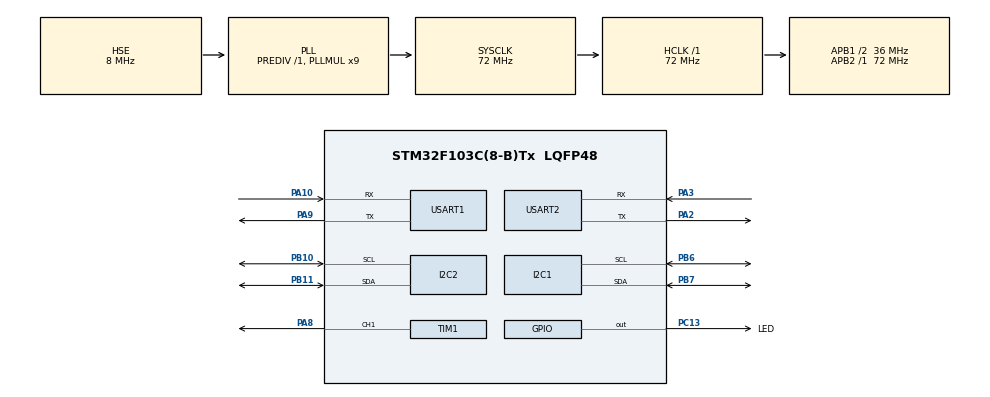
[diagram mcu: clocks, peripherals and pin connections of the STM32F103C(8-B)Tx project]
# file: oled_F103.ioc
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Dma.Request0=TIM1_CH1
Dma.TIM1_CH1.0.Direction=DMA_MEMORY_TO_PERIPH
Dma.TIM1_CH1.0.Instance=DMA1_Channel2
Dma.TIM1_CH1.0.MemDataAlignment=DMA_MDATAALIGN_WORD
Dma.TIM1_CH1.0.MemInc=DMA_MINC_ENABLE
Dma.TIM1_CH1.0.Mode=DMA_NORMAL
Dma.TIM1_CH1.0.PeriphDataAlignment=DMA_PDATAALIGN_WORD
Dma.TIM1_CH1.0.PeriphInc=DMA_PINC_DISABLE
Dma.TIM1_CH1.0.Priority=DMA_PRIORITY_MEDIUM
I2C1.I2C_Mode=I2C_Standard
I2C2.I2C_Mode=I2C_Fast
Mcu.Family=STM32F1
Mcu.Name=STM32F103C(8-B)Tx
Mcu.Package=LQFP48
NVIC.DMA1_Channel2_IRQn=true\:0\:0\:false\:false\:true\:false\:true\:true
NVIC.PriorityGroup=NVIC_PRIORITYGROUP_4
NVIC.USART1_IRQn=true\:0\:0\:false\:false\:true\:true\:true\:true
NVIC.USART2_IRQn=true\:0\:0\:false\:false\:true\:true\:true\:true
PA10.Mode=Asynchronous
PA10.Signal=USART1_RX
PA13.Mode=Serial_Wire
PA13.Signal=SYS_JTMS-SWDIO
PA14.Mode=Serial_Wire
PA14.Signal=SYS_JTCK-SWCLK
PA2.Mode=Asynchronous
PA2.Signal=USART2_TX
PA3.Mode=Asynchronous
PA3.Signal=USART2_RX
PA8.Signal=S_TIM1_CH1
PA9.Mode=Asynchronous
PA9.Signal=USART1_TX
PB10.Mode=I2C
PB10.Signal=I2C2_SCL
PB11.Mode=I2C
PB11.Signal=I2C2_SDA
PB6.GPIO_Speed=GPIO_SPEED_FREQ_HIGH
PB6.Mode=I2C
PB6.Signal=I2C1_SCL
PB7.Mode=I2C
PB7.Signal=I2C1_SDA
PC13-TAMPER-RTC.GPIO_Label=LED
PC13-TAMPER-RTC.GPIO_Speed=GPIO_SPEED_FREQ_MEDIUM
PC13-TAMPER-RTC.PinState=GPIO_PIN_SET
PC13-TAMPER-RTC.Signal=GPIO_Output
PD0-OSC_IN.Mode=HSE-External-Oscillator
PD0-OSC_IN.Signal=RCC_OSC_IN
PD1-OSC_OUT.Mode=HSE-External-Oscillator
PD1-OSC_OUT.Signal=RCC_OSC_OUT
ProjectManager.HeapSize=0x400
ProjectManager.StackSize=0x800
ProjectManager.TargetToolchain=MDK-ARM V5.32
RCC.AHBFreq_Value=72000000
RCC.APB1CLKDivider=RCC_HCLK_DIV2
RCC.APB1Freq_Value=36000000
RCC.APB1TimFreq_Value=72000000
RCC.APB2Freq_Value=72000000
RCC.APB2TimFreq_Value=72000000
RCC.HCLKFreq_Value=72000000
RCC.PLLMUL=RCC_PLL_MUL9
RCC.PLLSourceVirtual=RCC_PLLSOURCE_HSE
RCC.SYSCLKFreq_VALUE=72000000
RCC.SYSCLKSource=RCC_SYSCLKSOURCE_PLLCLK
RCC.USBFreq_Value=48000000
RCC.USBPrescaler=RCC_USBCLKSOURCE_PLL_DIV1_5
SH.S_TIM1_CH1.0=TIM1_CH1,PWM Generation1 CH1
TIM1.Channel-PWM\ Generation1\ CH1=TIM_CHANNEL_1
TIM1.Period=90
TIM2.Period=100
TIM2.Prescaler=7200-1
USART1.VirtualMode=VM_ASYNC
USART2.VirtualMode=VM_ASYNC
VP_TIM1_VS_ClockSourceINT.Mode=Internal
VP_TIM2_VS_ClockSourceINT.Mode=Internal
board=custom

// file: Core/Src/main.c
/* USER CODE BEGIN Header */
/**
 ******************************************************************************
 * @file           : main.c
 * @brief          : Main program body
 ******************************************************************************
 * @attention
 *
 * Copyright (c) 2024 STMicroelectronics.
 * All rights reserved.
 *
 * This software is licensed under terms that can be found in the LICENSE file
 * in the root directory of this software component.
 * If no LICENSE file comes with this software, it is provided AS-IS.
 *
 ******************************************************************************
 */
/* USER CODE END Header */
#include "main.h"
#include "dma.h"
#include "i2c.h"
#include "tim.h"
#include "usart.h"
#include "gpio.h"

/* USER CODE BEGIN Includes */
#include "OLED.h"
#include "WS2812B.h"
#include "esp8266.h"
#include "ee.h"
/* USER CODE END Includes */

/* USER CODE BEGIN PM */
char oled_buff[20] = {0};
uint8_t Rxbuff = 0;

extern uint8_t index_send_msg;
extern uint16_t index_led;
uint8_t led_status = 0;
uint8_t led_vol = 0;

volatile uint16_t mqtt_receive_count = 0;
volatile uint8_t mqtt_receive_complete = 0;

/* USER CODE END PM */

/* USER CODE BEGIN PV */
// 1. 定义三组不同的测试数据和对应的句柄 (与之前相同)
// 第一组: 用户ID
uint32_t user_id = 19981231;
EE_HandleTypeDef handle_user_id;

// 第二组: GPS坐标
typedef struct {
    double latitude;
    double longitude;
} GpsCoord;
GpsCoord last_location = { .latitude = 39.9042, .longitude = 116.4074 };
EE_HandleTypeDef handle_gps;

// 第三组: 设备状态
uint8_t device_status_flags = 0xAC;  // 8个标志位
EE_HandleTypeDef handle_status;

// 2. 规划每组数据在EEPROM中的存储布局（偏移地址）
#define OFFSET_USER_ID          0
#define OFFSET_GPS_COORD        32  // 预留一些空间
#define OFFSET_STATUS_FLAGS     64
/* USER CODE END PV */

void SystemClock_Config(void);
/* USER CODE BEGIN PFP */
void OLED_demo(void);
void ESP8266_demo(void);
void espTopic_pub_sub_demo(void);
/* USER CODE END PFP */

/* USER CODE BEGIN 0 */
  void flash_test(void)
  {
     printf("========= EEPROM Emulation Test Case V2 =========\n");

    // 根据编译时选择的配置，打印当前测试的内存布局

    printf("--- Running in [STANDALONE / NO BOOTLOADER] mode ---\n");
    printf("--- Simulated EEPROM Address: 0x%X (At the end of Flash) ---\n\n", (unsigned int)EE_ADDRESS);

    // ================== 写入阶段 ==================
    printf("========= Phase 1: Writing data =========\n");

    EE_Init(&handle_user_id, &user_id, sizeof(user_id), OFFSET_USER_ID);
    EE_Init(&handle_gps, &last_location, sizeof(last_location), OFFSET_GPS_COORD);
    EE_Init(&handle_status, &device_status_flags, sizeof(device_status_flags), OFFSET_STATUS_FLAGS);

    if (!EE_Format()) {
        printf("Error: Failed to format EEPROM area.\n");
    }

    printf("Writing User ID: %u at offset %d\n", user_id, OFFSET_USER_ID);
    EE_Write(&handle_user_id);

    printf("Writing GPS Location: lat=%.4f, lon=%.4f at offset %d\n", last_location.latitude, last_location.longitude, OFFSET_GPS_COORD);
    EE_Write(&handle_gps);

    printf("Writing Status Flags: 0x%02X at offset %d\n", device_status_flags, OFFSET_STATUS_FLAGS);
    EE_Write(&handle_status);

    printf("\n========= Write phase finished. =========\n\n");

    // ================== 读取与验证阶段 ==================
    printf("========= Phase 2: Reading and Verifying data =========\n");

    uint32_t read_user_id = 0;
    GpsCoord read_gps = {0.0, 0.0};
    uint8_t read_status = 0;

    EE_Init(&handle_user_id, &read_user_id, sizeof(read_user_id), OFFSET_USER_ID);
    EE_Init(&handle_gps, &read_gps, sizeof(read_gps), OFFSET_GPS_COORD);
    EE_Init(&handle_status, &read_status, sizeof(read_status), OFFSET_STATUS_FLAGS);

    printf("\nReading data...\n");
    EE_Read(&handle_user_id);
    EE_Read(&handle_gps);
    EE_Read(&handle_status);

    printf("\n--- Verification ---\n");
    printf("User ID:         Original = %-12u | Read = %-12u\n", user_id, read_user_id);
    printf("GPS Location:    Original = %.4f, %.4f | Read = %.4f, %.4f\n", last_location.latitude, last_location.longitude, read_gps.latitude, read_gps.longitude);
    printf("Status Flags:    Original = 0x%-12X | Read = 0x%-12X\n", device_status_flags, read_status);

    bool success = (user_id == read_user_id) &&
                   (memcmp(&last_location, &read_gps, sizeof(GpsCoord)) == 0) &&
                   (device_status_flags == read_status);

    printf("\n==============================================\n");
    if (success) {
        printf("SUCCESS: All data read back matches original data!\n");
    } else {
        printf("FAILURE: Read-back data does not match!\n");
    }
    printf("==============================================\n");

  }
/* USER CODE END 0 */

int main(void)
{

  /* MCU Configuration--------------------------------------------------------*/

  /* Reset of all peripherals, Initializes the Flash interface and the Systick. */
  HAL_Init();

  /* Configure the system clock */
  SystemClock_Config();

  /* Initialize all configured peripherals */
  MX_GPIO_Init();
  MX_DMA_Init();
  MX_I2C1_Init();
  MX_I2C2_Init();
  MX_TIM1_Init();
  MX_TIM2_Init();
  MX_USART1_UART_Init();
  MX_USART2_UART_Init();
  /* USER CODE BEGIN 2 */
  //OLED_Init();
  // ESP8266_demo();
  // time2_start();
  // while (MPU6050_Init(&hi2c2) == 1) {};
  flash_test();
  /* USER CODE END 2 */

  /* Infinite loop */
  while (1)
  {

    /* USER CODE BEGIN 3 */

    HAL_Delay(100);
  }

  /* USER CODE END 3 */
}

void SystemClock_Config(void)
{
  RCC_OscInitTypeDef RCC_OscInitStruct = {0};
  RCC_ClkInitTypeDef RCC_ClkInitStruct = {0};

  /** Initializes the RCC Oscillators according to the specified parameters
   * in the RCC_OscInitTypeDef structure.
   */
  RCC_OscInitStruct.OscillatorType = RCC_OSCILLATORTYPE_HSE;
  RCC_OscInitStruct.HSEState = RCC_HSE_ON;
  RCC_OscInitStruct.HSEPredivValue = RCC_HSE_PREDIV_DIV1;
  RCC_OscInitStruct.HSIState = RCC_HSI_ON;
  RCC_OscInitStruct.PLL.PLLState = RCC_PLL_ON;
  RCC_OscInitStruct.PLL.PLLSource = RCC_PLLSOURCE_HSE;
  RCC_OscInitStruct.PLL.PLLMUL = RCC_PLL_MUL9;
  if (HAL_RCC_OscConfig(&RCC_OscInitStruct) != HAL_OK)
  {
    Error_Handler();
  }

  /** Initializes the CPU, AHB and APB buses clocks
   */
  RCC_ClkInitStruct.ClockType = RCC_CLOCKTYPE_HCLK | RCC_CLOCKTYPE_SYSCLK | RCC_CLOCKTYPE_PCLK1 | RCC_CLOCKTYPE_PCLK2;
  RCC_ClkInitStruct.SYSCLKSource = RCC_SYSCLKSOURCE_PLLCLK;
  RCC_ClkInitStruct.AHBCLKDivider = RCC_SYSCLK_DIV1;
  RCC_ClkInitStruct.APB1CLKDivider = RCC_HCLK_DIV2;
  RCC_ClkInitStruct.APB2CLKDivider = RCC_HCLK_DIV1;

  if (HAL_RCC_ClockConfig(&RCC_ClkInitStruct, FLASH_LATENCY_2) != HAL_OK)
  {
    Error_Handler();
  }
}

/* USER CODE BEGIN 4 */
void ESP8266_demo(void)
{
  ESP8266_init(1,1);

}

/* USER CODE END 4 */

void Error_Handler(void)
{
  __disable_irq();
  while (1)
  {
  }
}
